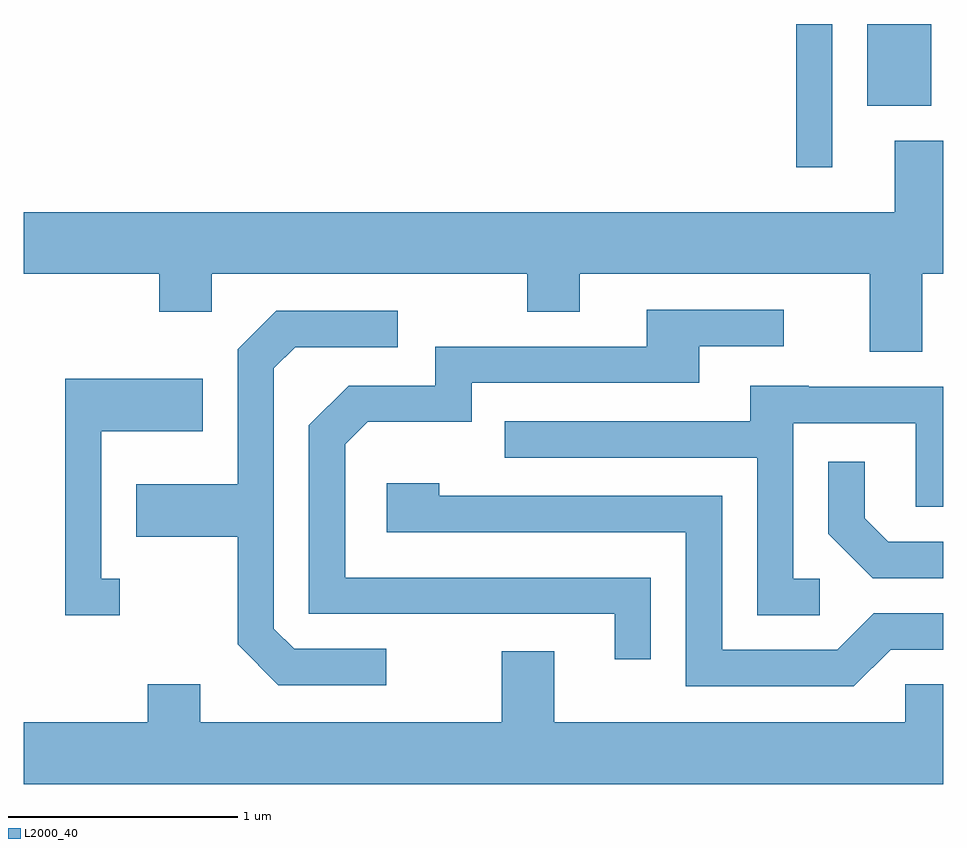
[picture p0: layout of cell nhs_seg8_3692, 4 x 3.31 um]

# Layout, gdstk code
import gdstk
lib = gdstk.Library(unit=1e-6, precision=1e-09)
def R(c, l, rs):  # rectangles x0, y0, x1, y1
    for r in rs: c.add(gdstk.rectangle(r[:2], r[2:], *l))
def P(c, l, *ps):  # polygons
    for p in ps: c.add(gdstk.Polygon(p, *l))
L2000_40 = (2000, 40)

nhs_seg8_3692 = lib.new_cell('nhs_seg8_3692')
R(nhs_seg8_3692, L2000_40, [(298.971,1885.718,299.129,1886.342), (299.281,1885.986,299.559,1886.342)])
P(nhs_seg8_3692, L2000_40, [(295.611,1885.256),(296.201,1885.256),(296.201,1885.091),(296.429,1885.091),(296.429,1885.256),(297.801,1885.256),(297.801,1885.091),(298.029,1885.091),(298.029,1885.256),(299.291,1885.256),(299.291,1884.916),(299.519,1884.916),(299.519,1885.256),(299.611,1885.256),(299.611,1885.834),(299.401,1885.834),(299.401,1885.524),(295.611,1885.524)],
  [(298.339,1883.934),(297.009,1883.934),(297.009,1884.514),(297.107,1884.611),(297.559,1884.611),(297.559,1884.781),(298.549,1884.781),(298.549,1884.941),(298.918,1884.941),(298.918,1885.099),(298.321,1885.099),(298.321,1884.939),(297.401,1884.939),(297.401,1884.769),(297.024,1884.769),(296.851,1884.597),(296.851,1883.776),(298.181,1883.776),(298.181,1883.578),(298.339,1883.578)],
  [(297.188,1883.624),(296.787,1883.624),(296.699,1883.712),(296.699,1884.844),(296.792,1884.936),(297.238,1884.936),(297.238,1885.094),(296.709,1885.094),(296.541,1884.927),(296.541,1884.339),(296.101,1884.339),(296.101,1884.111),(296.541,1884.111),(296.541,1883.644),(296.719,1883.466),(297.188,1883.466)],
  [(296.028,1883.929),(295.949,1883.929),(295.949,1884.571),(296.389,1884.571),(296.389,1884.799),(295.791,1884.799),(295.791,1883.771),(296.028,1883.771)],
  [(299.073,1883.929),(298.959,1883.929),(298.959,1884.606),(299.491,1884.606),(299.491,1884.241),(299.611,1884.241),(299.611,1884.764),(299.025,1884.764),(299.025,1884.769),(298.771,1884.769),(298.771,1884.614),(297.703,1884.614),(297.703,1884.456),(298.801,1884.456),(298.801,1883.771),(299.073,1883.771)],
  [(299.611,1884.089),(299.372,1884.089),(299.269,1884.192),(299.269,1884.438),(299.111,1884.438),(299.111,1884.124),(299.304,1883.931),(299.611,1883.931)],
  [(299.382,1883.621),(299.611,1883.621),(299.611,1883.779),(299.309,1883.779),(299.149,1883.619),(298.649,1883.619),(298.649,1884.289),(297.419,1884.289),(297.419,1884.344),(297.191,1884.344),(297.191,1884.131),(298.491,1884.131),(298.491,1883.461),(299.222,1883.461)],
  [(299.611,1883.469),(299.446,1883.469),(299.446,1883.304),(297.919,1883.304),(297.919,1883.614),(297.691,1883.614),(297.691,1883.304),(296.379,1883.304),(296.379,1883.469),(296.151,1883.469),(296.151,1883.304),(295.611,1883.304),(295.611,1883.036),(299.611,1883.036)])

lib.write_gds('nhs_seg8_3692.gds')
